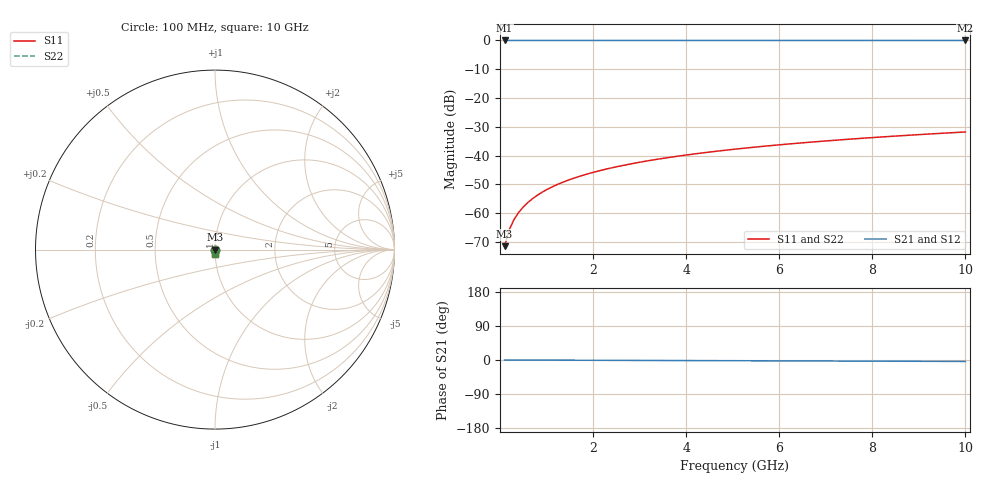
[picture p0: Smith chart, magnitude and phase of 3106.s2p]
# Hz S RI R 50.00
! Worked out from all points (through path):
!   100 points, 100 MHz to 10 GHz, reference 50 ohm
!   highest |S21| = 0.00 dB at 100 MHz (marker M1); lowest = 0.0 dB at 10 GHz (marker M2)
!   lowest |S11| = -71.5 dB at 100 MHz (marker M3), VSWR 1.00, Z = 50 - j0.0254 ohm
!   |S11| at or under -10 dB: start of sweep to end of sweep
!   |S22| runs from -71.5 to -31.8 dB; largest |S21 - S12| = 0
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1e8  7.8e-05 -0.000254  0.9999 -0.000657  0.9999 -0.000657  7.8e-05 -0.000254
2e8  7.76e-05 -0.000508  0.9999 -0.00131  0.9999 -0.00131  7.76e-05 -0.000508
3e8  7.68e-05 -0.000762  0.9999 -0.00197  0.9999 -0.00197  7.68e-05 -0.000762
4e8  7.55e-05 -0.00102  0.9999 -0.00263  0.9999 -0.00263  7.55e-05 -0.00102
5e8  7.38e-05 -0.00127  0.9999 -0.00328  0.9999 -0.00328  7.38e-05 -0.00127
6e8  7.18e-05 -0.00152  0.9999 -0.00394  0.9999 -0.00394  7.18e-05 -0.00152
7e8  6.94e-05 -0.00178  0.9999 -0.0046  0.9999 -0.0046  6.94e-05 -0.00178
8e8  6.67e-05 -0.00203  0.9999 -0.00525  0.9999 -0.00525  6.67e-05 -0.00203
9e8  6.36e-05 -0.00229  0.9999 -0.00591  0.9999 -0.00591  6.36e-05 -0.00229
1.1e9  5.65e-05 -0.00279  0.9999 -0.00723  0.9999 -0.00723  5.65e-05 -0.00279
1.4e9  4.31e-05 -0.00356  0.9999 -0.0092  0.9999 -0.0092  4.31e-05 -0.00356
1.8e9  2.06e-05 -0.00457  0.9998 -0.0118  0.9998 -0.0118  2.06e-05 -0.00457
2.1e9  7.24e-08 -0.00534  0.9998 -0.0138  0.9998 -0.0138  7.24e-08 -0.00534
2.5e9  -3.2e-05 -0.00636  0.9997 -0.0164  0.9997 -0.0164  -3.2e-05 -0.00636
2.9e9  -6.95e-05 -0.00738  0.9997 -0.0191  0.9997 -0.0191  -6.95e-05 -0.00738
3.4e9  -0.000124 -0.00866  0.9996 -0.0224  0.9996 -0.0224  -0.000124 -0.00866
4.2e9  -0.000229 -0.0107  0.9995 -0.0277  0.9995 -0.0277  -0.000229 -0.0107
5.1e9  -0.000373 -0.013  0.9992 -0.0336  0.9992 -0.0336  -0.000373 -0.013
5.9e9  -0.000525 -0.0151  0.999 -0.0389  0.999 -0.0389  -0.000525 -0.0151
6.7e9  -0.000699 -0.0171  0.9988 -0.0442  0.9988 -0.0442  -0.000699 -0.0171
8.4e9  -0.00114 -0.0215  0.9981 -0.0556  0.9981 -0.0556  -0.00114 -0.0215
1e10  -0.00165 -0.0256  0.9973 -0.0662  0.9973 -0.0662  -0.00165 -0.0256
